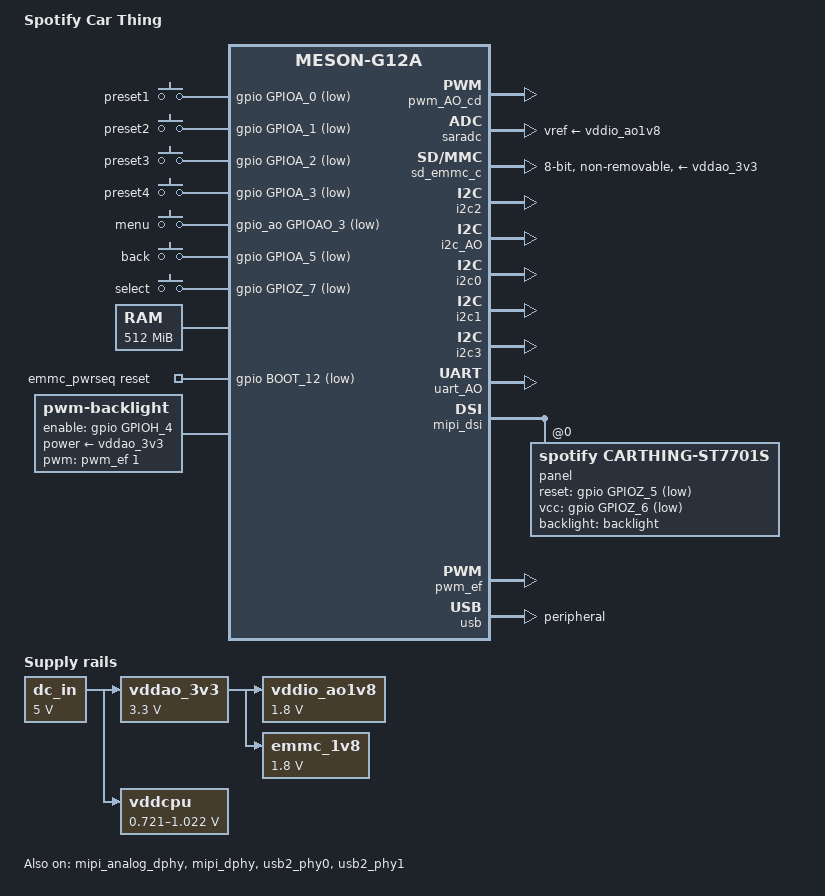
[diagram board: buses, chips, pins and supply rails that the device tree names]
// SPDX-License-Identifier: (GPL-2.0+ OR MIT)
/*
 * Device tree for the Spotify Car Thing (codename "superbird").
 *
 * Hardware notes:
 *   SoC:   Amlogic S905X2 family (G12A)
 *   DRAM:  512 MiB
 *   eMMC:  Samsung S40004, 4 GiB, 8-bit HS200-capable
 *   WiFi:  Broadcom BCM43xxx via SDIO (sd_emmc_a)
 *   UART:  AO-A on the test-pad (debug console, 115200n8)
 *   Panel: 480x800 MIPI DSI, ILI9806E (no upstream driver yet)
 *   Buttons: preset 1-4 + back + menu (GPIO inputs)
 *
 * Phase-2 stage-C DT: just enough to boot u-boot to a CLI prompt with
 * accurate DRAM size and eMMC access. Panel, buttons, audio routing,
 * etc. will be filled in later phases.
 */

/dts-v1/;

#include "meson-g12a.dtsi"
#include <dt-bindings/gpio/gpio.h>
#include <dt-bindings/gpio/meson-g12a-gpio.h>
#include <dt-bindings/input/input.h>

/ {
	compatible = "spotify,carthing", "amlogic,g12a";
	model = "Spotify Car Thing";

	/*
	 * Front-panel buttons + wheel-press. GPIO mapping ported from
	 * spsgsb/kernel-common arch/arm64/boot/dts/amlogic/superbird_evt_512.dts
	 * (the 512 MiB production variant; ours is also 512 MiB).
	 *
	 * Physical buttons:
	 *   preset1 / preset2 / preset3 / preset4   GPIOA_0..3 — top row
	 *   menu                                    GPIOAO_3   — labeled "mute"
	 *                                                        in vendor DTS
	 *                                                        but the physical
	 *                                                        cap is the menu
	 *                                                        "m" key.
	 *                                                        Lives on the AO
	 *                                                        GPIO bank, not
	 *                                                        the main one.
	 *   back                                    GPIOA_5
	 *   select                                  GPIOZ_7    — rotary wheel press
	 *
	 * The rotary encoder itself (GPIOZ_8 / GPIOZ_9) is not bound here
	 * because u-boot has no upstream rotary-encoder uclass. Linux will
	 * pick it up via the rotary-encoder driver once we add a kernel DT.
	 *
	 * pinctrl uses bias-disable to match vendor (external pull-ups
	 * exist for all confirmed inputs).
	 */
	keys {
		compatible = "gpio-keys";

		button-preset1 {
			label = "preset1";
			linux,code = <KEY_NUMERIC_1>;
			gpios = <&gpio GPIOA_0 GPIO_ACTIVE_LOW>;
			pinctrl-0 = <&carthing_btn_pins>;
			pinctrl-names = "default";
		};

		button-preset2 {
			label = "preset2";
			linux,code = <KEY_NUMERIC_2>;
			gpios = <&gpio GPIOA_1 GPIO_ACTIVE_LOW>;
			pinctrl-0 = <&carthing_btn_pins>;
			pinctrl-names = "default";
		};

		button-preset3 {
			label = "preset3";
			linux,code = <KEY_NUMERIC_3>;
			gpios = <&gpio GPIOA_2 GPIO_ACTIVE_LOW>;
			pinctrl-0 = <&carthing_btn_pins>;
			pinctrl-names = "default";
		};

		button-preset4 {
			label = "preset4";
			linux,code = <KEY_NUMERIC_4>;
			gpios = <&gpio GPIOA_3 GPIO_ACTIVE_LOW>;
			pinctrl-0 = <&carthing_btn_pins>;
			pinctrl-names = "default";
		};

		button-menu {
			label = "menu";
			linux,code = <KEY_MENU>;
			gpios = <&gpio_ao GPIOAO_3 GPIO_ACTIVE_LOW>;
			pinctrl-0 = <&carthing_menu_pins>;
			pinctrl-names = "default";
		};

		button-back {
			label = "back";
			linux,code = <KEY_BACK>;
			gpios = <&gpio GPIOA_5 GPIO_ACTIVE_LOW>;
			pinctrl-0 = <&carthing_btn_pins>;
			pinctrl-names = "default";
		};

		button-select {
			label = "select";
			linux,code = <KEY_ENTER>;
			gpios = <&gpio GPIOZ_7 GPIO_ACTIVE_LOW>;
			pinctrl-0 = <&carthing_wheel_pins>;
			pinctrl-names = "default";
		};
	};

	aliases {
		serial0 = &uart_AO;
		mmc0 = &sd_emmc_c;
		/* Mirror vendor DT bus numbering: i2c0..3 are the EE
		 * controllers (in reg order, same as upstream node
		 * names) and i2c4 is the AO controller. So MAX14656 is
		 * bus 2, MFi auth is bus 3, touch is bus 0. */
		i2c0 = &i2c0;
		i2c1 = &i2c1;
		i2c2 = &i2c2;
		i2c3 = &i2c3;
		i2c4 = &i2c_AO;
	};

	chosen {
		stdout-path = "serial0:115200n8";
	};

	memory@0 {
		device_type = "memory";
		reg = <0x0 0x0 0x0 0x20000000>; /* 512 MiB */
	};

	/* SoC-internal voltage rails -- same as the G12A reference designs. */
	dc_in: regulator-dc-in {
		compatible = "regulator-fixed";
		regulator-name = "DC_IN";
		regulator-min-microvolt = <5000000>;
		regulator-max-microvolt = <5000000>;
		regulator-always-on;
	};

	vddao_3v3: regulator-vddao-3v3 {
		compatible = "regulator-fixed";
		regulator-name = "VDDAO_3V3";
		regulator-min-microvolt = <3300000>;
		regulator-max-microvolt = <3300000>;
		vin-supply = <&dc_in>;
		regulator-always-on;
	};

	vddio_ao1v8: regulator-vddio-ao1v8 {
		compatible = "regulator-fixed";
		regulator-name = "VDDIO_AO1V8";
		regulator-min-microvolt = <1800000>;
		regulator-max-microvolt = <1800000>;
		vin-supply = <&vddao_3v3>;
		regulator-always-on;
	};

	emmc_1v8: regulator-emmc-1v8 {
		compatible = "regulator-fixed";
		regulator-name = "EMMC_1V8";
		regulator-min-microvolt = <1800000>;
		regulator-max-microvolt = <1800000>;
		vin-supply = <&vddao_3v3>;
		regulator-always-on;
	};

	/* PWM-controlled CPU regulator, same SY8120B1ABC found on sei510 etc. */
	vddcpu: regulator-vddcpu {
		compatible = "pwm-regulator";
		regulator-name = "VDDCPU";
		regulator-min-microvolt = <721000>;
		regulator-max-microvolt = <1022000>;
		pwm-supply = <&dc_in>;
		pwms = <&pwm_AO_cd 1 1250 0>;
		pwm-dutycycle-range = <100 0>;
		regulator-boot-on;
		regulator-always-on;
	};

	emmc_pwrseq: emmc-pwrseq {
		compatible = "mmc-pwrseq-emmc";
		reset-gpios = <&gpio BOOT_12 GPIO_ACTIVE_LOW>;
	};

	/*
	 * Panel backlight. The carthing's backlight rail is gated by a
	 * BL_EN pin and modulated by a PWM input -- driving just BL_EN high
	 * (verified live) does NOT light the LEDs, so PWM pulses are
	 * required.
	 *
	 * Parameters pulled from vendor `board/amlogic/superbird_production/lcd.c`
	 * ext_lcd_config[] entry for "lcd_8":
	 *   - PWM_F channel (matches our `&pwm_ef 1`)
	 *   - 180 Hz carrier (~5.55 ms period); the LED driver IC won't
	 *     respond to anything in the kHz range
	 *   - BL_PWM_NEGATIVE polarity: physical PWM is active-low, i.e.
	 *     low duty cycle = bright. We pass polarity=1 in the pwms cells
	 *     so pwm-meson inverts the duty before driving the pin
	 *   - duty range 25%-100% mapped onto brightness 10-255
	 */
	backlight: backlight {
		compatible = "pwm-backlight";
		pwms = <&pwm_ef 1 5555555 1>;
		enable-gpios = <&gpio GPIOH_4 GPIO_ACTIVE_HIGH>;
		/* PWM polarity on this board is inverted at the silicon level
		 * (pwms third cell = 1) but u-boot's pwm-meson driver doesn't
		 * actually honour PWM_POLARITY_INVERTED, so smaller raw values
		 * appear visually brighter. Keep the original level table for
		 * compatibility with any future Linux DT use, but pick index 0
		 * as the default — that's the smallest raw value (10) which
		 * produces the brightest panel on this hardware. */
		brightness-levels = <10 32 64 96 128 160 192 224 255>;
		default-brightness-level = <0>;
		power-supply = <&vddao_3v3>;
	};
};

/* Hardware that does NOT exist on the Car Thing */
&ethmac        { status = "disabled"; };
&hdmi_tx       { status = "disabled"; };
&cec_AO        { status = "disabled"; };
&cecb_AO       { status = "disabled"; };
&tohdmitx      { status = "disabled"; };
&ir            { status = "disabled"; };
&sd_emmc_b     { status = "disabled"; }; /* sei510 SD-card slot, absent here */

&cpu0 { cpu-supply = <&vddcpu>; };
&cpu1 { cpu-supply = <&vddcpu>; };
&cpu2 { cpu-supply = <&vddcpu>; };
&cpu3 { cpu-supply = <&vddcpu>; };

&pwm_AO_cd {
	pinctrl-0 = <&pwm_ao_d_e_pins>;
	pinctrl-names = "default";
	status = "okay";
};

&saradc {
	status = "okay";
	vref-supply = <&vddio_ao1v8>;
};

/* eMMC -- same controller pinout as the G12A reference boards. */
&sd_emmc_c {
	status = "okay";
	pinctrl-0 = <&emmc_ctrl_pins>, <&emmc_data_8b_pins>, <&emmc_ds_pins>;
	pinctrl-1 = <&emmc_clk_gate_pins>;
	pinctrl-names = "default", "clk-gate";

	bus-width = <8>;
	cap-mmc-highspeed;
	mmc-ddr-1_8v;
	mmc-hs200-1_8v;
	max-frequency = <200000000>;
	non-removable;
	disable-wp;

	mmc-pwrseq = <&emmc_pwrseq>;
	vmmc-supply = <&vddao_3v3>;
	vqmmc-supply = <&emmc_1v8>;
};

/*
 * I2C bus 2 hosts the charge controller at 0x35 (vendor `check_charger`
 * env macro polls register 3 of that device). Pin option not confirmed
 * for the carthing yet — starting with the X-bank pinmux (more common on
 * G12A reference designs); fall back to Z-bank if 0x35 doesn't ACK.
 */
&i2c2 {
	status = "okay";
	pinctrl-0 = <&i2c2_sda_z_pins>, <&i2c2_sck_z_pins>;
	pinctrl-names = "default";
};

/*
 * Speculative bring-up of remaining I2C controllers to hunt for the
 * MFi auth coprocessor (and any other onboard I2C devices we haven't
 * found yet). Vendor enumerates 5 buses; we drive only i2c2. Trying
 * default pinmux options below — adjust per probe result.
 */
&i2c_AO {
	status = "okay";
	pinctrl-0 = <&i2c_ao_sck_pins>, <&i2c_ao_sda_pins>;
	pinctrl-names = "default";
};
&i2c0 {
	status = "okay";
	pinctrl-0 = <&i2c0_sda_z0_pins>, <&i2c0_sck_z1_pins>;
	pinctrl-names = "default";
};
&i2c1 {
	status = "okay";
	pinctrl-0 = <&i2c1_sda_x_pins>, <&i2c1_sck_x_pins>;
	pinctrl-names = "default";
};
&i2c3 {
	status = "okay";
	pinctrl-0 = <&i2c3_sda_a_pins>, <&i2c3_sck_a_pins>;
	pinctrl-names = "default";
};

/* Debug console (test-pad mod). 115200n8. */
&uart_AO {
	status = "okay";
	pinctrl-0 = <&uart_ao_a_pins>;
	pinctrl-names = "default";
};

/*
 * Force the three confirmed button GPIOs to gpio_periphs function with
 * internal pull-up so the button-gpio probe doesn't depend on whatever
 * pinmux state burn-mode u-boot left them in. Vendor disables internal
 * pull-ups (external pull-ups exist on the buttons it cares about), but
 * keeping the internal pull-up enabled here is harmless when an external
 * one is also present, and protects against floats if it isn't.
 *
 */
&periphs_pinctrl {
	carthing_btn_pins: carthing-btn {
		mux {
			groups = "GPIOA_0", "GPIOA_1", "GPIOA_2", "GPIOA_3",
				 "GPIOA_5";
			function = "gpio_periphs";
			bias-disable;
			input-enable;
		};
	};

	/* Rotary wheel + press pinmux. On this 512MB Car Thing hardware
	 * revision the encoder's A/B phases live on GPIOZ_8 and GPIOZ_9,
	 * and the wheel press is on GPIOZ_7. All three get muxed to plain
	 * gpio_periphs with bias-disable (external pull-ups on the board).
	 *
	 * Note: the runtime DTB pulled from a stock 1GB unit shows the
	 * rotary on Z_9 + Z_10 — that's a *different* hardware rev with
	 * the pins shifted one bit. See knob_decoder.md for the silicon
	 * probe that established the 512MB layout for sure. */
	carthing_wheel_pins: carthing-wheel {
		mux {
			groups = "GPIOZ_7", "GPIOZ_8", "GPIOZ_9";
			function = "gpio_periphs";
			bias-disable;
			input-enable;
		};
	};

	/*
	 * BL_EN (GPIOH_4) needs to be forced back to gpio_periphs because
	 * vendor BL2 may leave it in an alt-function state. Without this
	 * explicit mux the pwm-backlight `enable-gpios` request silently
	 * fails to drive the pad.
	 */
	carthing_bl_en_pins: carthing-bl-en {
		mux {
			groups = "GPIOH_4";
			function = "gpio_periphs";
			bias-disable;
		};
	};
};

&ao_pinctrl {
	/* Menu button (vendor label "mute" but physical cap is menu) on
	 * the AO GPIO bank — needs its own pinctrl section since &gpio_ao
	 * is a different controller from &gpio. */
	carthing_menu_pins: carthing-menu {
		mux {
			groups = "GPIOAO_3";
			function = "gpio_aobus";
			bias-disable;
			input-enable;
		};
	};
};

&backlight {
	pinctrl-0 = <&carthing_bl_en_pins>;
	pinctrl-names = "default";
};

/*
 * Display: ST7701S 480x800 MIPI DSI panel ("lcd_8" in vendor terms).
 *
 * Phase D3 wires the DSI host wrapper (meson_dw_mipi_dsi) up to the panel
 * driver added in commit 8346ed8b33. The panel's reset and power-rail GPIOs
 * come from the vendor pin map (see memory: carthing-vendor-hw-map):
 *   - GPIOZ_5 = panel reset (active-low)
 *   - GPIOZ_6 = panel VCC enable (active-low; driving 0 = powered on)
 *
 * The pixel data path through meson_vpu is still TODO (phase D4); for now
 * D3's success criterion is just that the wrapper probes and the panel
 * driver binds. A backlight phandle isn't wired up yet either — that's D5.
 */
&mipi_analog_dphy {
	status = "okay";
};

&mipi_dphy {
	status = "okay";
};

&mipi_dsi {
	status = "okay";
	#address-cells = <1>;
	#size-cells = <0>;

	panel@0 {
		compatible = "spotify,carthing-st7701s";
		reg = <0>;
		reset-gpios = <&gpio GPIOZ_5 GPIO_ACTIVE_LOW>;
		vcc-gpios   = <&gpio GPIOZ_6 GPIO_ACTIVE_LOW>;
		backlight = <&backlight>;
	};
};

&pwm_ef {
	status = "okay";
	pinctrl-0 = <&pwm_f_h_pins>;
	pinctrl-names = "default";
};

/*
 * USB. The Car Thing's USB-C port is the device-side OTG port (mask
 * ROM exposes burn mode here at 0x1b8e:0xc003). Vendor uses dr_mode
 * "otg" which lets the controller flip between host and peripheral.
 * For u-boot we default to "peripheral" so fastboot / ums work; user
 * can flip to "host" later via dt fixup or a separate build if needed.
 *
 * The G12A SoC has two USB2 phys (one wired to the OTG port, one to a
 * dedicated host port which the Car Thing doesn't expose), plus a
 * shared USB3/PCIE phy that vendor leaves disabled. We enable both
 * USB2 phys here for completeness; only port 0 is electrically wired.
 */
&usb {
	status = "okay";
	dr_mode = "peripheral";
};

&usb2_phy0 {
	status = "okay";
};

&usb2_phy1 {
	status = "okay";
};
